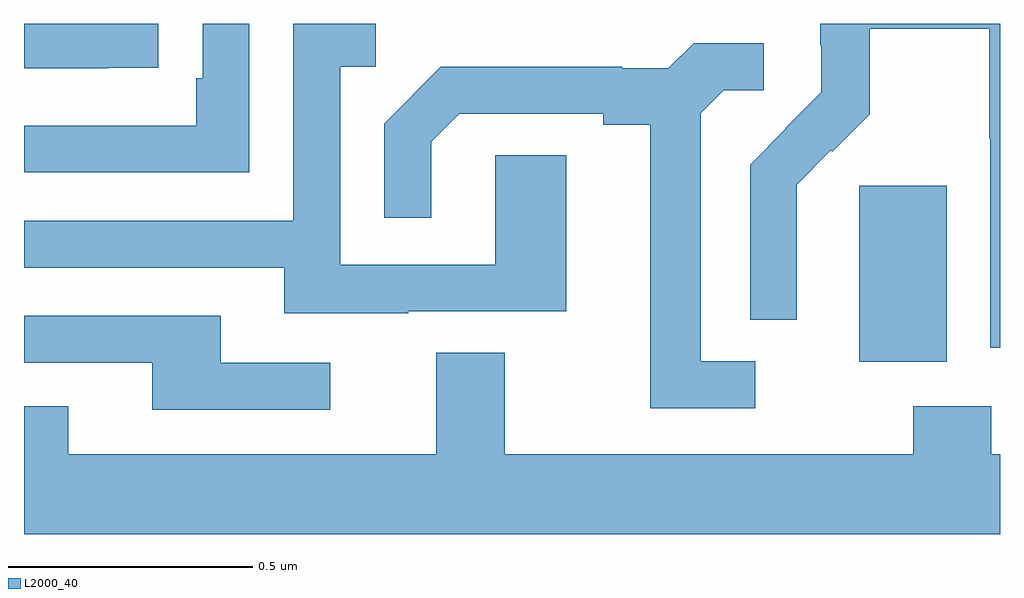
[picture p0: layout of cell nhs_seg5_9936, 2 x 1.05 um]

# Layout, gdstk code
import gdstk
lib = gdstk.Library(unit=1e-6, precision=1e-09)
def R(c, l, rs):  # rectangles x0, y0, x1, y1
    for r in rs: c.add(gdstk.rectangle(r[:2], r[2:], *l))
def P(c, l, *ps):  # polygons
    for p in ps: c.add(gdstk.Polygon(p, *l))
L2000_40 = (2000, 40)

nhs_seg5_9936 = lib.new_cell('nhs_seg5_9936')
R(nhs_seg5_9936, L2000_40, [(241.712,865.106,241.891,865.467)])
P(nhs_seg5_9936, L2000_40, [(240.462,865.799),(240.366,865.799),(240.366,865.687),(240.353,865.687),(240.353,865.59),(240,865.59),(240,865.494),(240.462,865.494)],
  [(242,865.799),(241.632,865.799),(241.632,865.755),(241.634,865.755),(241.634,865.658),(241.56,865.584),(241.561,865.583),(241.488,865.51),(241.488,865.192),(241.584,865.192),(241.584,865.346),(241.583,865.346),(241.583,865.469),(241.653,865.539),(241.656,865.536),(241.733,865.613),(241.733,865.788),(241.978,865.788),(241.978,865.564),(241.98,865.564),(241.98,865.135),(242,865.135)],
  [(240.787,865.209),(241.111,865.209),(241.111,865.529),(240.966,865.529),(240.966,865.305),(240.648,865.305),(240.648,865.71),(240.721,865.71),(240.721,865.799),(240.552,865.799),(240.552,865.395),(240,865.395),(240,865.299),(240.533,865.299),(240.533,865.205),(240.787,865.205)],
  [(240.173,865.708),(240.275,865.708),(240.275,865.799),(240,865.799),(240,865.707),(240.173,865.707)],
  [(241.498,865.107),(241.387,865.107),(241.387,865.615),(241.434,865.662),(241.516,865.662),(241.516,865.759),(241.372,865.759),(241.32,865.707),(241.226,865.707),(241.226,865.71),(240.854,865.71),(240.738,865.594),(240.738,865.401),(240.835,865.401),(240.835,865.557),(240.892,865.614),(241.187,865.614),(241.187,865.592),(241.283,865.592),(241.283,865.011),(241.498,865.011)],
  [(240.628,865.104),(240.403,865.104),(240.403,865.2),(240,865.2),(240,865.104),(240.263,865.104),(240.263,865.008),(240.628,865.008)],
  [(242,864.916),(241.982,864.916),(241.982,865.015),(241.822,865.015),(241.822,864.916),(240.985,864.916),(240.985,865.124),(240.845,865.124),(240.845,864.916),(240.091,864.916),(240.091,865.015),(240,865.015),(240,864.752),(242,864.752)])

lib.write_gds('nhs_seg5_9936.gds')
